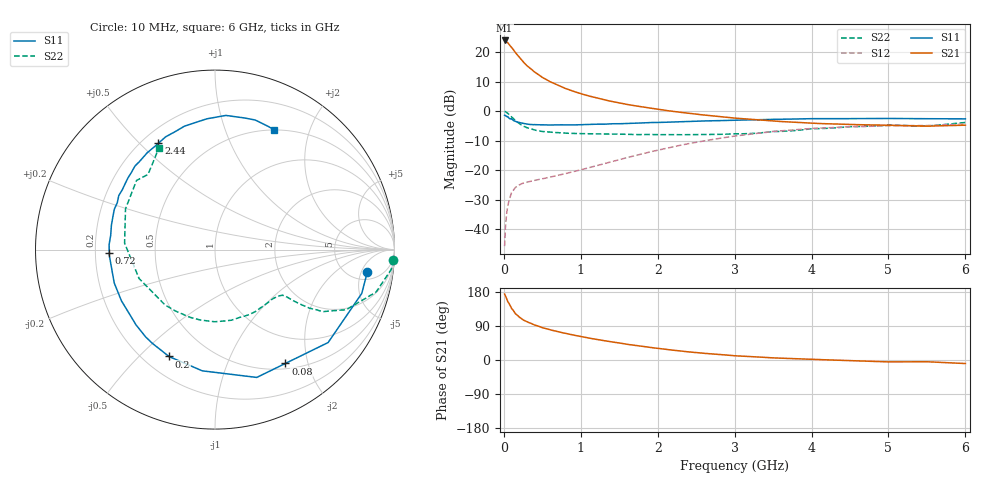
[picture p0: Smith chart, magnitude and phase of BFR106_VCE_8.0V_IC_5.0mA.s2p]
! Infineon Technologies  Discrete & RF Semiconductors
! BFR106
! VCE =  8.0 V,  IC =  5.0 mA
! Common Emitter S-Parameters:  Nov 2015
# GHz  S  MA  R  50
!  f  S11  S21  S12  S22
! GHz  MAG  ANG  MAG  ANG  MAG  ANG  MAG  ANG
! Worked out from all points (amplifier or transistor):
!   210 points, 10 MHz to 6 GHz, reference 50 ohm
!   highest |S21| = 24.1 dB at 10 MHz (marker M1)
!   |S21| within 3 dB of that: start of sweep to 119.5 MHz
!   unconditionally stable (mu >= 1): 626.9 MHz to 1.848 GHz; 5.021 GHz to end of sweep
!   at 185 MHz: K = 0.39, MSG = 22.1 dB, |S12| = -25.3 dB
!   at 1.52 GHz: K = 1.10, MAG = 7.6 dB, |S12| = -16.3 dB
!   at 6 GHz: K = 1.02, MAG = -1.0 dB, |S12| = -4.3 dB
!   S11 on the Smith chart (normalised r, x): 10 MHz: 7.00, -6.49; 80 MHz: 0.57, -1.64; 200 MHz: 0.30, -0.62; 720 MHz: 0.26, -0.02; 2.44 GHz: 0.26, +0.57; 6 GHz: 0.50, +1.49
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0.01  0.8579 -8.2  16.02 174.0  0.0051 88.7  0.9948 -3.3
0.02  0.8535 -16.6  15.77 169.7  0.0104 81.4  0.9884 -6.4
0.05  0.8157 -39.4  14.68 154.8  0.0245 69.4  0.9277 -14.8
0.08  0.7457 -58.3  13.1 144.6  0.0343 60.3  0.8505 -20.3
0.1  0.7493 -71.9  12.33 136.5  0.0412 56.7  0.8041 -24.6
0.15  0.6791 -96.0  9.992 122.3  0.0507 47.4  0.6953 -29.8
0.2  0.6484 -113.3  8.308 113.3  0.056 43.3  0.6184 -31.8
0.24  0.628 -123.9  7.214 107.5  0.0594 41.0  0.5728 -32.5
0.26  0.6212 -128.5  6.752 104.9  0.0607 40.4  0.5545 -32.8
0.3  0.6079 -136.4  5.966 100.6  0.0624 40.2  0.5271 -33.1
0.4  0.5942 -151.4  4.654 92.3  0.067 40.6  0.4796 -33.4
0.5  0.5914 -161.7  3.775 85.4  0.0709 42.7  0.4544 -34.0
0.6  0.5851 -170.2  3.196 79.7  0.0761 45.6  0.4427 -35.4
0.72  0.5894 -178.1  2.714 73.8  0.0822 49.4  0.432 -37.7
1.02  0.5935 166.0  1.96 61.2  0.1028 57.7  0.4171 -45.1
1.4  0.6148 150.7  1.473 47.9  0.1388 64.1  0.4118 -57.4
2.02  0.6471 130.1  1.074 30.3  0.2213 64.6  0.4011 -82.3
2.44  0.6711 118.0  0.915 20.7  0.2881 60.5  0.4005 -102.5
3.1  0.7107 101.9  0.75 10.2  0.3936 49.4  0.4149 -137.7
4.1  0.7493 84.0  0.62 1.1  0.5174 29.3  0.5081 171.6
5.1  0.7539 71.7  0.576 -4.9  0.5688 12.0  0.5778 137.3
6  0.7443 63.7  0.581 -9.3  0.6071 0.2  0.6466 118.9
